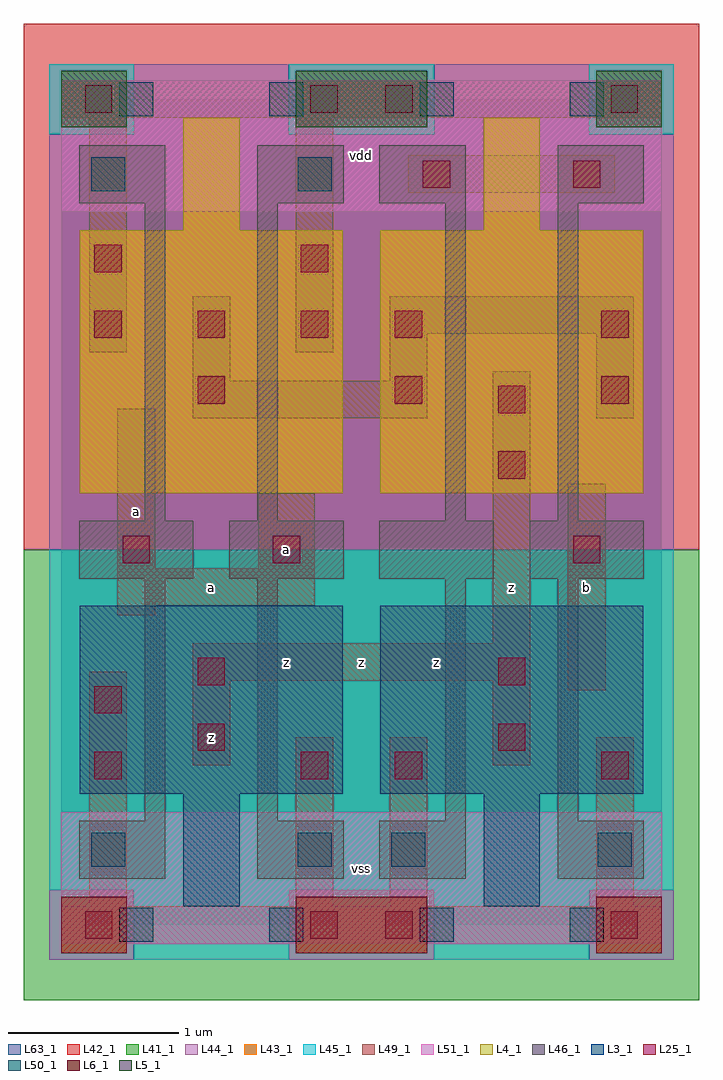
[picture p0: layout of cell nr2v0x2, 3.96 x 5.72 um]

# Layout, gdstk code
import gdstk
lib = gdstk.Library(unit=1e-6, precision=1e-09)
def R(c, l, rs):  # rectangles x0, y0, x1, y1
    for r in rs: c.add(gdstk.rectangle(r[:2], r[2:], *l))
def A(c, l, x, y, w, h, nx, ny, dx, dy):  # array of equal rectangles
    R(c, l, [(x+i*dx, y+j*dy, x+i*dx+w, y+j*dy+h) for i in range(nx) for j in range(ny)])
L3_1 = (3, 1)
L4_1 = (4, 1)
L5_1 = (5, 1)
L6_1 = (6, 1)
L25_1 = (25, 1)
L41_1 = (41, 1)
L42_1 = (42, 1)
L43_1 = (43, 1)
L44_1 = (44, 1)
L45_1 = (45, 1)
L46_1 = (46, 1)
L49_1 = (49, 1)
L50_1 = (50, 1)
L51_1 = (51, 1)
L63_1 = (63, 1)

nr2v0x2 = lib.new_cell('nr2v0x2')
R(nr2v0x2, L3_1, [(0.715,0.11,1.045,0.77), (2.475,0.11,2.805,0.77), (0.11,0.77,1.65,1.87), (1.87,0.77,3.41,1.87)])
R(nr2v0x2, L4_1, [(0.11,2.53,1.65,4.07), (1.87,2.53,3.41,4.07), (0.715,4.07,1.045,4.73), (2.475,4.07,2.805,4.73)])
R(nr2v0x2, L5_1, [(0,4.675,0.385,5.005), (1.375,4.675,2.145,5.005), (3.135,4.675,3.52,5.005)])
R(nr2v0x2, L6_1, [(0,-0.165,0.385,0.165), (1.375,-0.165,2.145,0.165), (3.135,-0.165,3.52,0.165)])
A(nr2v0x2, L25_1, 0.195, 3.44, 0.16, 0.16, 3, 1, 0.605, 0)
R(nr2v0x2, L25_1, [(0.14,-0.08,0.3,0.08), (1.46,-0.08,1.62,0.08), (1.9,-0.08,2.06,0.08), (3.22,-0.08,3.38,0.08), (0.195,0.855,0.355,1.015), (1.405,0.855,1.565,1.015), (1.955,0.855,2.115,1.015), (3.165,0.855,3.325,1.015), (0.8,1.02,0.96,1.18), (2.56,1.02,2.72,1.18), (0.195,1.24,0.355,1.4), (0.8,1.405,0.96,1.565), (2.56,1.405,2.72,1.565), (0.36,2.12,0.52,2.28), (1.24,2.12,1.4,2.28), (3,2.12,3.16,2.28), (2.56,2.615,2.72,2.775), (2.56,3,2.72,3.16), (0.8,3.055,0.96,3.215), (1.955,3.055,2.115,3.215), (3.165,3.055,3.325,3.215), (1.955,3.44,2.115,3.6), (3.165,3.44,3.325,3.6), (0.195,3.825,0.355,3.985), (1.405,3.825,1.565,3.985), (2.12,4.32,2.28,4.48), (3,4.32,3.16,4.48), (0.14,4.76,0.3,4.92), (1.46,4.76,1.62,4.92), (1.9,4.76,2.06,4.92), (3.22,4.76,3.38,4.92)])
R(nr2v0x2, L41_1, [(-0.22,-0.44,3.74,2.2)])
R(nr2v0x2, L42_1, [(-0.22,2.2,3.74,5.28)])
R(nr2v0x2, L43_1, [(0,-0.165,0.385,0.165), (1.375,-0.165,2.145,0.165), (3.135,-0.165,3.52,0.165), (0.715,0.11,1.045,0.77), (2.475,0.11,2.805,0.77), (0.11,0.77,1.65,1.87), (1.87,0.77,3.41,1.87), (0.11,2.53,1.65,4.07), (1.87,2.53,3.41,4.07), (0.715,4.07,1.045,4.73), (2.475,4.07,2.805,4.73), (0,4.675,0.385,5.005), (1.375,4.675,2.145,5.005), (3.135,4.675,3.52,5.005)])
R(nr2v0x2, L44_1, [(-0.07,-0.205,0.425,0.205), (1.335,-0.205,2.185,0.205), (3.095,-0.205,3.59,0.205), (-0.07,2.2,3.59,4.635), (0.425,4.635,1.335,5.045), (2.185,4.635,3.095,5.045)])
R(nr2v0x2, L45_1, [(0.425,-0.205,1.335,0.205), (2.185,-0.205,3.095,0.205), (-0.07,0.205,3.59,2.2), (-0.07,4.635,0.425,5.045), (1.335,4.635,2.185,5.045), (3.095,4.635,3.59,5.045)])
A(nr2v0x2, L46_1, 0.105, 2.03, 0.67, 0.34, 4, 1, 0.88, 0)
R(nr2v0x2, L46_1, [(0.105,0.27,0.61,0.61), (1.15,0.27,1.655,0.61), (1.865,0.27,2.37,0.61), (2.91,0.27,3.415,0.61), (0.49,0.61,0.61,2.03), (1.15,0.61,1.27,2.03), (2.25,0.61,2.37,2.03), (2.91,0.61,3.03,2.03), (0.49,2.37,0.61,4.23), (1.15,2.37,1.27,4.23), (2.25,2.37,2.37,4.23), (2.91,2.37,3.03,4.23), (0.105,4.23,0.61,4.57), (1.15,4.23,1.655,4.57), (1.865,4.23,2.37,4.57), (2.91,4.23,3.415,4.57)])
R(nr2v0x2, L49_1, [(0,-0.11,3.52,0.11), (0.165,0.11,0.385,1.485), (1.375,0.11,1.595,1.1), (1.925,0.11,2.145,1.1), (3.135,0.11,3.355,1.1), (0.77,0.935,0.99,1.43), (2.53,0.935,2.75,1.43), (2.97,1.375,3.19,2.585), (0.77,1.43,2.75,1.65), (2.53,1.65,2.75,3.245), (0.33,1.815,0.55,1.87), (0.33,1.87,1.485,2.09), (0.33,2.09,0.55,3.025), (1.155,2.09,1.485,2.53), (0.77,2.97,2.145,3.19), (3.135,2.97,3.355,3.465), (0.77,3.19,0.99,3.685), (1.925,3.19,2.145,3.465), (0.165,3.355,0.385,4.73), (1.375,3.355,1.595,4.73), (1.925,3.465,3.355,3.685), (2.035,4.29,3.245,4.51), (0,4.73,3.52,4.95)])
A(nr2v0x2, L50_1, 0.34, -0.1, 0.2, 0.2, 4, 2, 0.88, 4.84)
R(nr2v0x2, L50_1, [(0.175,0.34,0.375,0.54), (1.385,0.34,1.585,0.54), (1.935,0.34,2.135,0.54), (3.145,0.34,3.345,0.54), (0.175,4.3,0.375,4.5), (1.385,4.3,1.585,4.5)])
R(nr2v0x2, L51_1, [(0,-0.11,3.52,0.66), (0,4.18,3.52,4.95)])
R(nr2v0x2, L63_1, [(0,0,3.52,4.84)])
nr2v0x2.add(gdstk.Label('a', (0.44,2.42), layer=49, texttype=1))
nr2v0x2.add(gdstk.Label('z', (0.88,1.1), layer=49, texttype=1))
nr2v0x2.add(gdstk.Label('a', (0.88,1.98), layer=49, texttype=1))
nr2v0x2.add(gdstk.Label('z', (1.32,1.54), layer=49, texttype=1))
nr2v0x2.add(gdstk.Label('z', (1.76,1.54), layer=49, texttype=1))
nr2v0x2.add(gdstk.Label('a', (1.32,2.2), layer=49, texttype=1))
nr2v0x2.add(gdstk.Label('z', (2.2,1.54), layer=49, texttype=1))
nr2v0x2.add(gdstk.Label('z', (2.64,1.98), layer=49, texttype=1))
nr2v0x2.add(gdstk.Label('b', (3.08,1.98), layer=49, texttype=1))
nr2v0x2.add(gdstk.Label('vss', (1.76,0.33), layer=51, texttype=1))
nr2v0x2.add(gdstk.Label('vdd', (1.76,4.51), layer=51, texttype=1))

lib.write_gds('nr2v0x2.gds')
